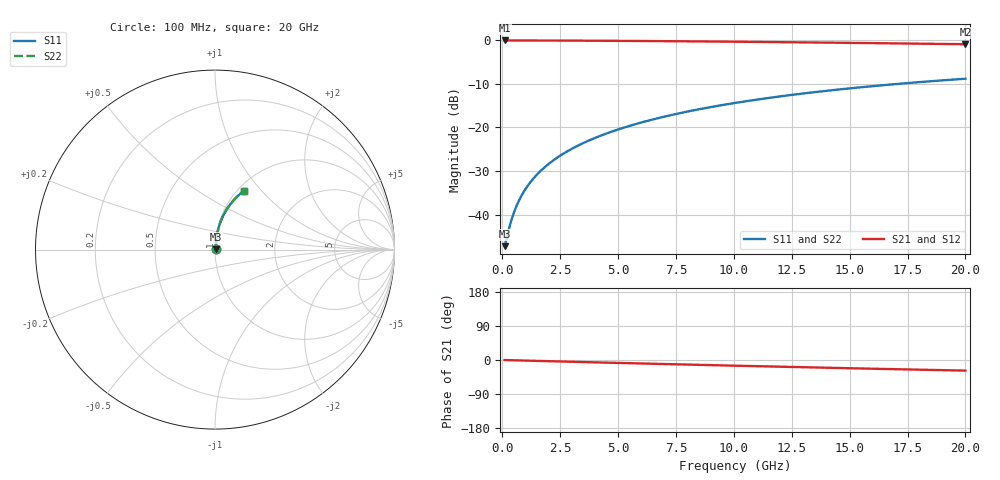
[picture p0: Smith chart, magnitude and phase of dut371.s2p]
! Touchstone file exported from HFSS 2024.1.0
!  File:  C:/UserFiles/LocalFiles/RDL_TSV_Batchsim/temp_RDL_top_371_1779608985.aedt
!  Generated:  03:52:23 PM May 24, 2026
!  Design:  RDL_top
!  Project:  temp_RDL_top_371_1779608985
!  Setup:  Setup1
!  Solution:  Sweep
! Variables:
!  dtsv = 10.80580581um
!  hbump = 3um
!  htsv = 55.3um
!  ldown = 100um
!  lrdl = 289.88um
!  p = 40
!  p1 = 57.82um
!  rhole = 1um
!  t = 450um
!  tdown = 3.915915916um
!  trdl = 2.08um
!  wdown = 15.38538539um
!  wrdl = 13.71um
# GHz S MA R 50.000000
! Terminal data exported
! Port[1] = Box2_T1
! Port[2] = Box2_T2
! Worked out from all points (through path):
!   200 points, 100 MHz to 20 GHz, reference 50 ohm
!   highest |S21| = -0.03 dB at 100 MHz (marker M1); lowest = -0.9 dB at 20 GHz (marker M2)
!   group delay of S21, straight-line fit = 3.89 ps
!   lowest |S11| = -47.3 dB at 100 MHz (marker M3), VSWR 1.01, Z = 50.4 + j0.197 ohm
!   |S11| at or under -10 dB: start of sweep to 17.1 GHz
!   |S22| runs from -47.3 to -8.8 dB; largest |S21 - S12| = 3.3e-15
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0.1  0.004334 26.8  0.9961 -0.2  0.9961 -0.2  0.004334 26.8
! Gamma 0 0 0 0
! Port Impedance 50 0 50 0
0.3  0.00705 55.8  0.996 -0.5  0.996 -0.5  0.00705 55.8
0.4  0.008738 62.5  0.996 -0.6  0.996 -0.6  0.008738 62.5
0.5  0.0105 66.9  0.9959 -0.8  0.9959 -0.8  0.0105 66.9
0.6  0.0123 70.0  0.9958 -1.0  0.9958 -1.0  0.0123 70.0
0.7  0.01411 72.2  0.9956 -1.1  0.9956 -1.1  0.01411 72.2
0.9  0.01776 75.3  0.9954 -1.4  0.9954 -1.4  0.01776 75.3
1.2  0.02328 78.0  0.995 -1.9  0.995 -1.9  0.02328 78.0
1.4  0.02697 79.2  0.9948 -2.2  0.9948 -2.2  0.02697 79.2
1.7  0.03253 80.4  0.9943 -2.7  0.9943 -2.7  0.03253 80.4
2.2  0.04183 81.6  0.9935 -3.5  0.9935 -3.5  0.04183 81.6
2.8  0.05306 82.2  0.9923 -4.4  0.9923 -4.4  0.05306 82.2
3.5  0.06624 82.4  0.9906 -5.5  0.9906 -5.5  0.06624 82.4
4.2  0.07949 82.2  0.9886 -6.5  0.9886 -6.5  0.07949 82.2
5  0.09472 81.8  0.986 -7.7  0.986 -7.7  0.09472 81.8
5.9  0.1119 81.2  0.9828 -9.1  0.9828 -9.1  0.1119 81.2
6.8  0.1292 80.4  0.9792 -10.4  0.9792 -10.4  0.1292 80.4
8.4  0.1598 78.6  0.972 -12.7  0.972 -12.7  0.1598 78.6
10.1  0.1919 76.6  0.9635 -15.1  0.9635 -15.1  0.1919 76.6
13.4  0.2525 72.4  0.9449 -19.6  0.9449 -19.6  0.2525 72.4
16.7  0.3096 68.1  0.9242 -23.9  0.9242 -23.9  0.3096 68.1
20  0.3625 64.0  0.9019 -28.0  0.9019 -28.0  0.3625 64.0
